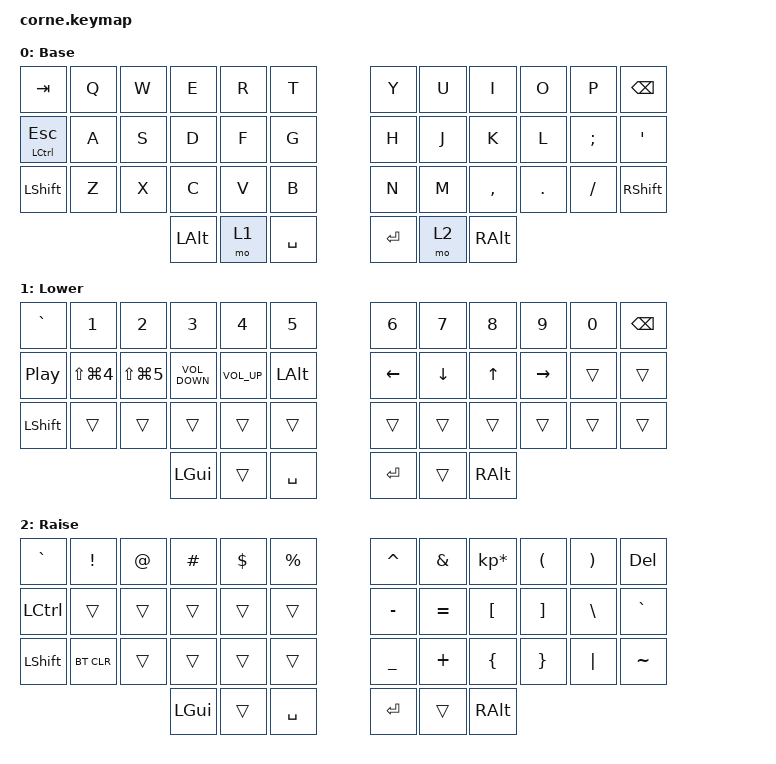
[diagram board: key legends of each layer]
/*
 * Copyright (c) 2020 The ZMK Contributors
 *
 * SPDX-License-Identifier: MIT
 */

#include <behaviors.dtsi>
#include <dt-bindings/zmk/bt.h>
#include <dt-bindings/zmk/keys.h>

/ {
    combos {
        compatible = "zmk,combos";

        CmdLeft {
            bindings = <&kp LGUI>;
            key-positions = <16 15>;
            timeout-ms = <150>;
            layers = <0 1 2>;
        };

        CmdRight {
            bindings = <&kp LGUI>;
            key-positions = <19 20>;
            timeout-ms = <150>;
            layers = <0 2 1>;
        };

        CapsWord {
            bindings = <&caps_word>;
            key-positions = <24 35>;
        };

        CmdShiftLeft {
            bindings = <&kp LS(LGUI)>;
            key-positions = <16 15 14>;
            timeout-ms = <150>;
            layers = <0 1 2>;
        };

        CmdShiftRight {
            bindings = <&kp LS(LGUI)>;
            key-positions = <19 20 21>;
            timeout-ms = <150>;
            layers = <0 1 2>;
        };
    };

    keymap {
        compatible = "zmk,keymap";

        default_layer {
            // -----------------------------------------------------------------------------------------
            // |  TAB |  Q  |  W  |  E  |  R  |  T  |   |  Y  |  U   |  I  |  O  |  P  | BKSP |
            // | CTRL |  A  |  S  |  D  |  F  |  G  |   |  H  |  J   |  K  |  L  |  ;  |  '   |
            // | SHFT |  Z  |  X  |  C  |  V  |  B  |   |  N  |  M   |  ,  |  .  |  /  | ESC  |
            //                    | GUI | LWR | SPC |   | ENT | RSE  | ALT |

            display-name = "Base";
            bindings = <
&kp TAB           &kp Q  &kp W  &kp E     &kp R  &kp T        &kp Y    &kp U  &kp I      &kp O    &kp P     &kp BSPC
&mt LCTRL ESCAPE  &kp A  &kp S  &kp D     &kp F  &kp G        &kp H    &kp J  &kp K      &kp L    &kp SEMI  &kp SQT
&kp LSHFT         &kp Z  &kp X  &kp C     &kp V  &kp B        &kp N    &kp M  &kp COMMA  &kp DOT  &kp FSLH  &kp RSHFT
                                &kp LALT  &mo 1  &kp SPACE    &kp RET  &mo 2  &kp RALT
            >;
        };

        lower_layer {
            // -----------------------------------------------------------------------------------------
            // |  TAB |  1  |  2  |  3  |  4  |  5  |   |  6  |  7  |  8  |  9  |  0  | BKSP |
            // | BTCLR| BT1 | BT2 | BT3 | BT4 | BT5 |   | LFT | DWN |  UP | RGT |     |      |
            // | SHFT |     |     |     |     |     |   |     |     |     |     |     |      |
            //                    | GUI |     | SPC |   | ENT |     | ALT |

            display-name = "Lower";
            bindings = <
&kp GRAVE         &kp N1                &kp N2                &kp N3             &kp N4        &kp N5       &kp N6    &kp N7    &kp N8    &kp N9     &kp N0  &kp BSPC
&kp C_PLAY_PAUSE  &kp LS(LG(NUMBER_4))  &kp LS(LG(NUMBER_5))  &kp C_VOLUME_DOWN  &kp C_VOL_UP  &kp LALT     &kp LEFT  &kp DOWN  &kp UP    &kp RIGHT  &trans  &trans
&kp LSHFT         &trans                &trans                &trans             &trans        &trans       &trans    &trans    &trans    &trans     &trans  &trans
                                                              &kp LGUI           &trans        &kp SPACE    &kp RET   &trans    &kp RALT
            >;
        };

        raise_layer {
            // -----------------------------------------------------------------------------------------
            // |  TAB |  !  |  @  |  #  |  $  |  %  |   |  ^  |  &  |  *  |  (  |  )  | BKSP |
            // | CTRL |     |     |     |     |     |   |  -  |  =  |  [  |  ]  |  \  |  `   |
            // | SHFT |     |     |     |     |     |   |  _  |  +  |  {  |  }  | "|" |  ~   |
            //                    | GUI |     | SPC |   | ENT |     | ALT |

            display-name = "Raise";
            bindings = <
&kp GRAVE  &kp EXCL    &kp AT  &kp HASH  &kp DLLR  &kp PRCNT    &kp CARET  &kp AMPS   &kp KP_MULTIPLY  &kp LPAR  &kp RPAR  &kp DELETE
&kp LCTRL  &trans      &trans  &trans    &trans    &trans       &kp MINUS  &kp EQUAL  &kp LBKT         &kp RBKT  &kp BSLH  &kp GRAVE
&kp LSHFT  &bt BT_CLR  &trans  &trans    &trans    &trans       &kp UNDER  &kp PLUS   &kp LBRC         &kp RBRC  &kp PIPE  &kp TILDE
                               &kp LGUI  &trans    &kp SPACE    &kp RET    &trans     &kp RALT
            >;
        };

        extra_1 { status = "reserved"; };

        extra_2 { status = "reserved"; };

        extra_3 { status = "reserved"; };
    };
};
